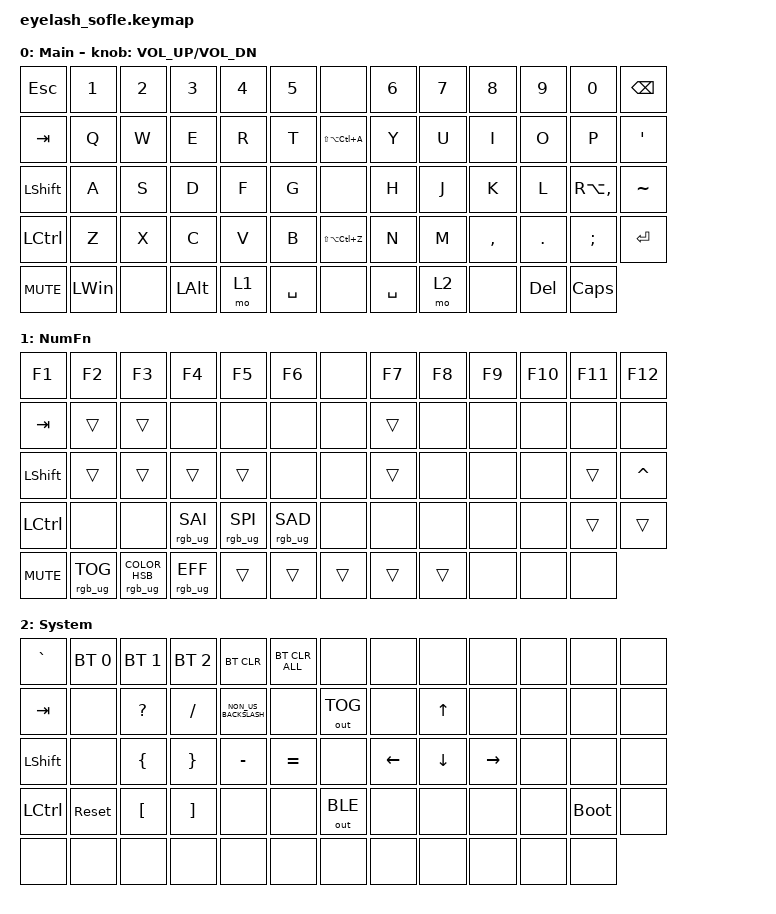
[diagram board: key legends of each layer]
#define ZMK_POINTING_DEFAULT_MOVE_VAL 1200  // 600
#define ZMK_POINTING_DEFAULT_SCRL_VAL 25   // 10

#include <input/processors.dtsi>
#include <zephyr/dt-bindings/input/input-event-codes.h>
#include <behaviors.dtsi>
#include <dt-bindings/zmk/bt.h>
#include <dt-bindings/zmk/keys.h>
#include <dt-bindings/zmk/outputs.h>
#include <dt-bindings/zmk/pointing.h>
#include <dt-bindings/zmk/rgb.h>

&mmv_input_listener { input-processors = <&zip_xy_scaler 2 1>; };

&msc_input_listener { input-processors = <&zip_scroll_scaler 2 1>; };

&msc {
    acceleration-exponent = <1>;      // 0
    time-to-max-speed-ms = <100>;       // 300
    delay-ms = <0>;                   // 0
};

&mmv {
    time-to-max-speed-ms = <500>;
    acceleration-exponent = <1>;
    trigger-period-ms = <16>;
};

/ {
    scroll_encoder: scroll_encoder {
        compatible = "zmk,behavior-sensor-rotate";
        #sensor-binding-cells = <0>;
        bindings = <&msc SCRL_DOWN>, <&msc SCRL_UP>;

        tap-ms = <100>;
    };

    behaviors {
    };

    keymap {
        compatible = "zmk,keymap";

        layer0 {
            bindings = <
&kp ESC           &kp N1        &kp N2  &kp N3        &kp N4  &kp N5       &none              &kp N6     &kp N7  &kp N8     &kp N9      &kp N0         &kp BACKSPACE
&kp TAB           &kp Q         &kp W   &kp E         &kp R   &kp T        &kp LS(LA(LC(A)))  &kp Y      &kp U   &kp I      &kp O       &kp P          &kp SINGLE_QUOTE
&kp LEFT_SHIFT    &kp A         &kp S   &kp D         &kp F   &kp G        &none              &kp H      &kp J   &kp K      &kp L       &kp RA(COMMA)  &kp TILDE
&kp LEFT_CONTROL  &kp Z         &kp X   &kp C         &kp V   &kp B        &kp LS(LA(LC(Z)))  &kp N      &kp M   &kp COMMA  &kp DOT     &kp SEMICOLON  &kp ENTER
&kp C_MUTE        &kp LEFT_WIN  &none   &kp LEFT_ALT  &mo 1   &kp SPACE    &none              &kp SPACE  &mo 2   &none      &kp DELETE  &kp CAPSLOCK
            >;

            sensor-bindings = <&inc_dec_kp C_VOLUME_UP C_VOL_DN>;
            display-name = "Main";
        };

        layer_1 {
            bindings = <
&kp F1            &kp F2           &kp F3                             &kp F4           &kp F5           &kp F6             &none   &kp F7  &kp F8  &kp F9  &kp F10  &kp F11  &kp F12
&kp TAB           &trans           &trans                             &none            &none            &none              &none   &trans  &none   &none   &none    &none    &none
&kp LEFT_SHIFT    &trans           &trans                             &trans           &trans           &none              &none   &trans  &none   &none   &none    &trans   &kp CARET
&kp LEFT_CONTROL  &none            &none                              &rgb_ug RGB_SAI  &rgb_ug RGB_SPI  &rgb_ug RGB_SAD    &none   &none   &none   &none   &none    &trans   &trans
&kp C_MUTE        &rgb_ug RGB_TOG  &rgb_ug RGB_COLOR_HSB(309,100,17)  &rgb_ug RGB_EFF  &trans           &trans             &trans  &trans  &trans  &none   &none    &none
            >;

            display-name = "NumFn";
        };

        layer_2 {
            bindings = <
&kp GRAVE         &bt BT_SEL 0  &bt BT_SEL 1      &bt BT_SEL 2       &bt BT_CLR            &bt BT_CLR_ALL    &none         &none           &none           &none            &none  &none        &none
&kp TAB           &none         &kp QMARK         &kp SLASH          &kp NON_US_BACKSLASH  &none             &out OUT_TOG  &none           &kp UP_ARROW    &none            &none  &none        &none
&kp LEFT_SHIFT    &none         &kp LEFT_BRACE    &kp RIGHT_BRACE    &kp MINUS             &kp EQUAL         &none         &kp LEFT_ARROW  &kp DOWN_ARROW  &kp RIGHT_ARROW  &none  &none        &none
&kp LEFT_CONTROL  &sys_reset    &kp LEFT_BRACKET  &kp RIGHT_BRACKET  &none                 &none             &out OUT_BLE  &none           &none           &none            &none  &bootloader  &none
&none             &none         &none             &none              &none                 &none             &none         &none           &none           &none            &none  &none
            >;

            display-name = "System";
        };
    };
};
